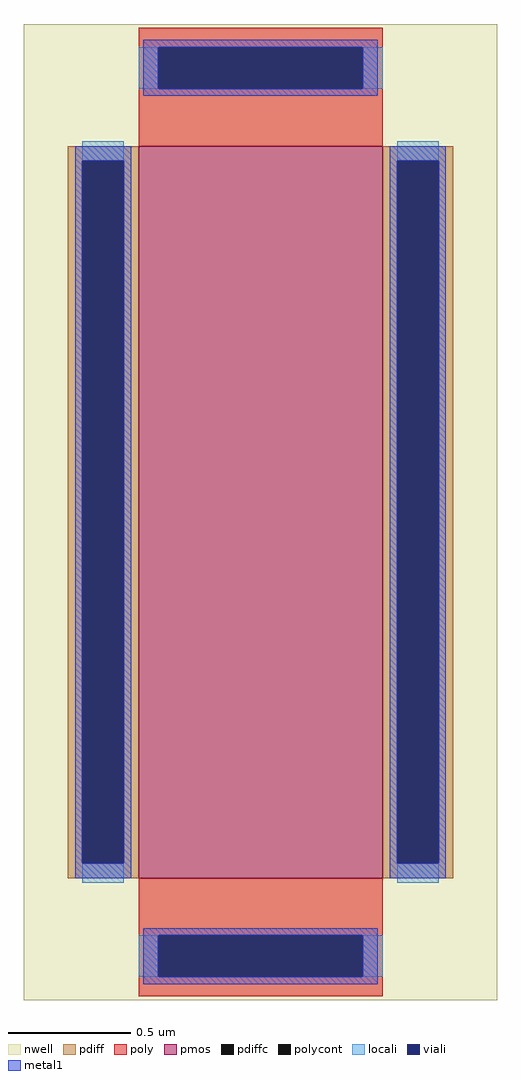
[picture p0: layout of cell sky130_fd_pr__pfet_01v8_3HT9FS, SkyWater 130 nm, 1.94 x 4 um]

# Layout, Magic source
magic
tech sky130A
magscale 1 2
<< nwell >>
rect -194 -400 194 400
<< pmos >>
rect -100 -300 100 300
<< pdiff >>
rect -158 288 -100 300
rect -158 -288 -146 288
rect -112 -288 -100 288
rect -158 -300 -100 -288
rect 100 288 158 300
rect 100 -288 112 288
rect 146 -288 158 288
rect 100 -300 158 -288
<< pdiffc >>
rect -146 -288 -112 288
rect 112 -288 146 288
<< poly >>
rect -100 381 100 397
rect -100 347 -84 381
rect 84 347 100 381
rect -100 300 100 347
rect -100 -347 100 -300
rect -100 -381 -84 -347
rect 84 -381 100 -347
rect -100 -397 100 -381
<< polycont >>
rect -84 347 84 381
rect -84 -381 84 -347
<< locali >>
rect -100 347 -84 381
rect 84 347 100 381
rect -146 288 -112 304
rect -146 -304 -112 -288
rect 112 288 146 304
rect 112 -304 146 -288
rect -100 -381 -84 -347
rect 84 -381 100 -347
<< viali >>
rect -84 347 84 381
rect -146 -288 -112 288
rect 112 -288 146 288
rect -84 -381 84 -347
<< metal1 >>
rect -96 381 96 387
rect -96 347 -84 381
rect 84 347 96 381
rect -96 341 96 347
rect -152 288 -106 300
rect -152 -288 -146 288
rect -112 -288 -106 288
rect -152 -300 -106 -288
rect 106 288 152 300
rect 106 -288 112 288
rect 146 -288 152 288
rect 106 -300 152 -288
rect -96 -347 96 -341
rect -96 -381 -84 -347
rect 84 -381 96 -347
rect -96 -387 96 -381
<< properties >>
string gencell sky130_fd_pr__pfet_01v8
string library sky130
string parameters w 3.0 l 1.0 m 1 nf 1 diffcov 100 polycov 100 guard 0 glc 1 grc 1 gtc 1 gbc 1 tbcov 100 rlcov 100 topc 1 botc 1 poverlap 0 doverlap 1 lmin 0.15 wmin 0.42 compatible {sky130_fd_pr__pfet_01v8  sky130_fd_pr__pfet_01v8_lvt sky130_fd_pr__pfet_01v8_hvt  sky130_fd_pr__pfet_g5v0d10v5} full_metal 1 viasrc 100 viadrn 100 viagate 100 viagb 0 viagr 0 viagl 0 viagt 0
<< end >>
